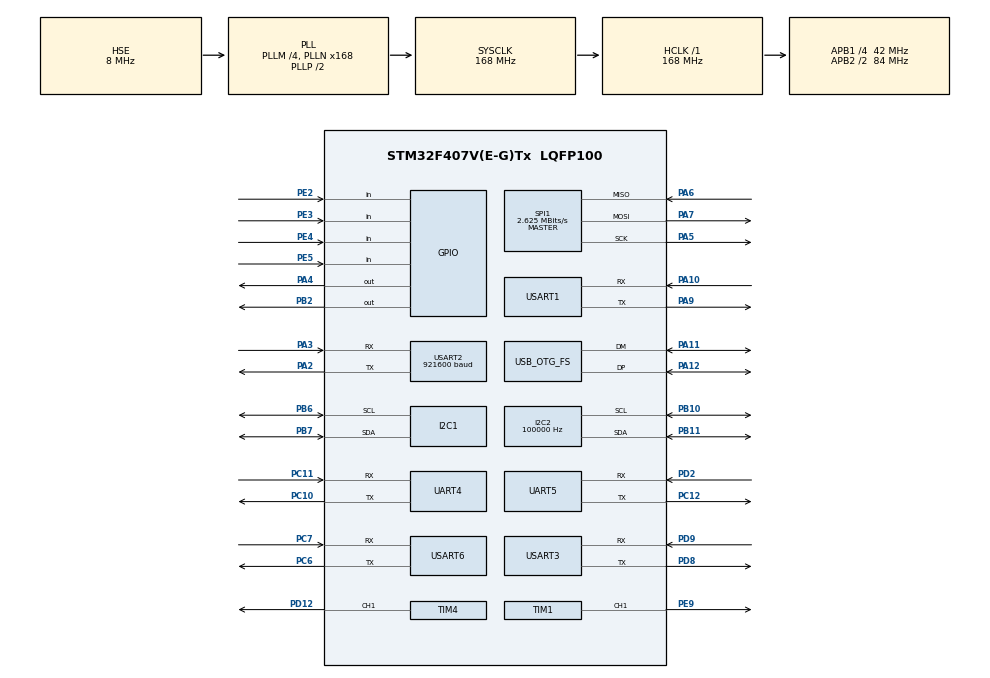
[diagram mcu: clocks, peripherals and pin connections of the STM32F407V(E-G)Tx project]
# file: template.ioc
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Dma.Request0=UART5_RX
Dma.Request1=UART5_TX
Dma.Request2=USART3_TX
Dma.Request3=USART1_RX
Dma.Request4=USART1_TX
Dma.Request5=USART2_RX
Dma.UART5_RX.0.Direction=DMA_PERIPH_TO_MEMORY
Dma.UART5_RX.0.FIFOMode=DMA_FIFOMODE_DISABLE
Dma.UART5_RX.0.Instance=DMA1_Stream0
Dma.UART5_RX.0.MemDataAlignment=DMA_MDATAALIGN_BYTE
Dma.UART5_RX.0.MemInc=DMA_MINC_ENABLE
Dma.UART5_RX.0.Mode=DMA_CIRCULAR
Dma.UART5_RX.0.PeriphDataAlignment=DMA_PDATAALIGN_BYTE
Dma.UART5_RX.0.PeriphInc=DMA_PINC_DISABLE
Dma.UART5_RX.0.Priority=DMA_PRIORITY_HIGH
Dma.UART5_TX.1.Direction=DMA_MEMORY_TO_PERIPH
Dma.UART5_TX.1.FIFOMode=DMA_FIFOMODE_DISABLE
Dma.UART5_TX.1.Instance=DMA1_Stream7
Dma.UART5_TX.1.MemDataAlignment=DMA_MDATAALIGN_BYTE
Dma.UART5_TX.1.MemInc=DMA_MINC_ENABLE
Dma.UART5_TX.1.Mode=DMA_NORMAL
Dma.UART5_TX.1.PeriphDataAlignment=DMA_PDATAALIGN_BYTE
Dma.UART5_TX.1.PeriphInc=DMA_PINC_DISABLE
Dma.UART5_TX.1.Priority=DMA_PRIORITY_MEDIUM
Dma.USART1_RX.3.Direction=DMA_PERIPH_TO_MEMORY
Dma.USART1_RX.3.FIFOMode=DMA_FIFOMODE_DISABLE
Dma.USART1_RX.3.Instance=DMA2_Stream2
Dma.USART1_RX.3.MemDataAlignment=DMA_MDATAALIGN_BYTE
Dma.USART1_RX.3.MemInc=DMA_MINC_ENABLE
Dma.USART1_RX.3.Mode=DMA_CIRCULAR
Dma.USART1_RX.3.PeriphDataAlignment=DMA_PDATAALIGN_BYTE
Dma.USART1_RX.3.PeriphInc=DMA_PINC_DISABLE
Dma.USART1_RX.3.Priority=DMA_PRIORITY_HIGH
Dma.USART1_TX.4.Direction=DMA_MEMORY_TO_PERIPH
Dma.USART1_TX.4.FIFOMode=DMA_FIFOMODE_DISABLE
Dma.USART1_TX.4.Instance=DMA2_Stream7
Dma.USART1_TX.4.MemDataAlignment=DMA_MDATAALIGN_BYTE
Dma.USART1_TX.4.MemInc=DMA_MINC_ENABLE
Dma.USART1_TX.4.Mode=DMA_NORMAL
Dma.USART1_TX.4.PeriphDataAlignment=DMA_PDATAALIGN_BYTE
Dma.USART1_TX.4.PeriphInc=DMA_PINC_DISABLE
Dma.USART1_TX.4.Priority=DMA_PRIORITY_LOW
Dma.USART2_RX.5.Direction=DMA_PERIPH_TO_MEMORY
Dma.USART2_RX.5.FIFOMode=DMA_FIFOMODE_DISABLE
Dma.USART2_RX.5.Instance=DMA1_Stream5
Dma.USART2_RX.5.MemDataAlignment=DMA_MDATAALIGN_BYTE
Dma.USART2_RX.5.MemInc=DMA_MINC_ENABLE
Dma.USART2_RX.5.Mode=DMA_CIRCULAR
Dma.USART2_RX.5.PeriphDataAlignment=DMA_PDATAALIGN_BYTE
Dma.USART2_RX.5.PeriphInc=DMA_PINC_DISABLE
Dma.USART2_RX.5.Priority=DMA_PRIORITY_HIGH
Dma.USART3_TX.2.Direction=DMA_MEMORY_TO_PERIPH
Dma.USART3_TX.2.FIFOMode=DMA_FIFOMODE_DISABLE
Dma.USART3_TX.2.Instance=DMA1_Stream3
Dma.USART3_TX.2.MemDataAlignment=DMA_MDATAALIGN_BYTE
Dma.USART3_TX.2.MemInc=DMA_MINC_ENABLE
Dma.USART3_TX.2.Mode=DMA_NORMAL
Dma.USART3_TX.2.PeriphDataAlignment=DMA_PDATAALIGN_BYTE
Dma.USART3_TX.2.PeriphInc=DMA_PINC_DISABLE
Dma.USART3_TX.2.Priority=DMA_PRIORITY_LOW
I2C2.AddressingMode=I2C_ADDRESSINGMODE_7BIT
I2C2.ClockSpeed=100000
I2C2.DualAddressMode=I2C_DUALADDRESS_DISABLE
I2C2.GeneralCallMode=I2C_GENERALCALL_DISABLE
I2C2.NoStretchMode=I2C_NOSTRETCH_DISABLE
I2C2.OwnAddress1=0
Mcu.Family=STM32F4
Mcu.Name=STM32F407V(E-G)Tx
Mcu.Package=LQFP100
NVIC.DMA1_Stream0_IRQn=true\:1\:0\:true\:false\:true\:false\:true\:true
NVIC.DMA1_Stream3_IRQn=true\:5\:0\:true\:false\:true\:false\:true\:true
NVIC.DMA1_Stream5_IRQn=true\:3\:0\:true\:false\:true\:false\:true\:true
NVIC.DMA1_Stream7_IRQn=true\:1\:0\:true\:false\:true\:false\:true\:true
NVIC.DMA2_Stream2_IRQn=true\:2\:0\:true\:false\:true\:false\:true\:true
NVIC.DMA2_Stream7_IRQn=true\:2\:0\:true\:false\:true\:false\:true\:true
NVIC.OTG_FS_IRQn=true\:4\:0\:true\:false\:true\:false\:true\:true
NVIC.PriorityGroup=NVIC_PRIORITYGROUP_4
NVIC.UART4_IRQn=true\:3\:0\:true\:false\:true\:true\:true\:true
NVIC.UART5_IRQn=true\:1\:0\:true\:false\:true\:true\:true\:true
NVIC.USART1_IRQn=true\:2\:0\:false\:false\:true\:true\:true\:true
NVIC.USART2_IRQn=true\:3\:0\:true\:false\:true\:true\:true\:true
NVIC.USART3_IRQn=true\:5\:0\:true\:false\:true\:true\:true\:true
PA10.Mode=Asynchronous
PA10.Signal=USART1_RX
PA11.Mode=Device_Only
PA11.Signal=USB_OTG_FS_DM
PA12.Mode=Device_Only
PA12.Signal=USB_OTG_FS_DP
PA13.Mode=Serial_Wire
PA13.Signal=SYS_JTMS-SWDIO
PA14.Mode=Serial_Wire
PA14.Signal=SYS_JTCK-SWCLK
PA2.Mode=Asynchronous
PA2.Signal=USART2_TX
PA3.Mode=Asynchronous
PA3.Signal=USART2_RX
PA4.PinState=GPIO_PIN_SET
PA4.Signal=GPIO_Output
PA5.Mode=Full_Duplex_Master
PA5.Signal=SPI1_SCK
PA6.Mode=Full_Duplex_Master
PA6.Signal=SPI1_MISO
PA7.Mode=Full_Duplex_Master
PA7.Signal=SPI1_MOSI
PA9.Mode=Asynchronous
PA9.Signal=USART1_TX
PB10.GPIO_Pu=GPIO_PULLUP
PB10.Mode=I2C
PB10.Signal=I2C2_SCL
PB11.GPIO_Pu=GPIO_PULLUP
PB11.Mode=I2C
PB11.Signal=I2C2_SDA
PB2.GPIO_PuPd=GPIO_PULLDOWN
PB2.PinState=GPIO_PIN_SET
PB2.Signal=GPIO_Output
PB6.Mode=I2C
PB6.Signal=I2C1_SCL
PB7.Mode=I2C
PB7.Signal=I2C1_SDA
PB8.Signal=CAN1_RX
PB9.Signal=CAN1_TX
PC10.Mode=Asynchronous
PC10.Signal=UART4_TX
PC11.Mode=Asynchronous
PC11.Signal=UART4_RX
PC12.Mode=Asynchronous
PC12.Signal=UART5_TX
PC6.Mode=Asynchronous
PC6.Signal=USART6_TX
PC7.Mode=Asynchronous
PC7.Signal=USART6_RX
PD12.Signal=S_TIM4_CH1
PD2.Mode=Asynchronous
PD2.Signal=UART5_RX
PD8.Mode=Asynchronous
PD8.Signal=USART3_TX
PD9.Mode=Asynchronous
PD9.Signal=USART3_RX
PE2.Signal=GPIO_Input
PE3.Signal=GPIO_Input
PE4.Signal=GPIO_Input
PE5.Signal=GPIO_Input
PE9.Signal=S_TIM1_CH1
PH0-OSC_IN.Mode=HSE-External-Oscillator
PH0-OSC_IN.Signal=RCC_OSC_IN
PH1-OSC_OUT.Mode=HSE-External-Oscillator
PH1-OSC_OUT.Signal=RCC_OSC_OUT
ProjectManager.HeapSize=0x200
ProjectManager.StackSize=0x1000
ProjectManager.TargetToolchain=MDK-ARM V5.32
RCC.48MHZClocksFreq_Value=48000000
RCC.AHBFreq_Value=168000000
RCC.APB1CLKDivider=RCC_HCLK_DIV4
RCC.APB1Freq_Value=42000000
RCC.APB1TimFreq_Value=84000000
RCC.APB2CLKDivider=RCC_HCLK_DIV2
RCC.APB2Freq_Value=84000000
RCC.APB2TimFreq_Value=168000000
RCC.CortexFreq_Value=168000000
RCC.HCLKFreq_Value=168000000
RCC.HSE_VALUE=8000000
RCC.HSI_VALUE=16000000
RCC.LSE_VALUE=32768
RCC.PLLM=4
RCC.PLLN=168
RCC.PLLQ=7
RCC.SYSCLKFreq_VALUE=168000000
RCC.SYSCLKSource=RCC_SYSCLKSOURCE_PLLCLK
RCC.VCOOutputFreq_Value=336000000
SH.S_TIM1_CH1.0=TIM1_CH1,PWM Generation1 CH1
SH.S_TIM4_CH1.0=TIM4_CH1,PWM Generation1 CH1
SPI1.BaudRatePrescaler=SPI_BAUDRATEPRESCALER_32
SPI1.CLKPhase=SPI_PHASE_2EDGE
SPI1.CLKPolarity=SPI_POLARITY_HIGH
SPI1.CalculateBaudRate=2.625 MBits/s
SPI1.Direction=SPI_DIRECTION_2LINES
SPI1.Mode=SPI_MODE_MASTER
SPI1.VirtualType=VM_MASTER
TIM1.Channel-PWM\ Generation1\ CH1=TIM_CHANNEL_1
TIM1.Period=19999
TIM1.Prescaler=167
TIM4.Channel-PWM\ Generation1\ CH1=TIM_CHANNEL_1
TIM4.Period=19999
TIM4.Prescaler=83
UART4.VirtualMode=Asynchronous
UART5.VirtualMode=Asynchronous
USART1.VirtualMode=VM_ASYNC
USART2.BaudRate=921600
USART2.VirtualMode=VM_ASYNC
USART3.VirtualMode=VM_ASYNC
USART6.VirtualMode=VM_ASYNC
USB_DEVICE.CLASS_NAME_FS=CDC
USB_DEVICE.VirtualMode-CDC_FS=Cdc
USB_DEVICE.VirtualModeFS=Cdc_FS
USB_OTG_FS.VirtualMode=Device_Only
USB_OTG_FS.vbus_sensing_enable=DISABLE
VP_USB_DEVICE_VS_USB_DEVICE_CDC_FS.Mode=CDC_FS
board=custom

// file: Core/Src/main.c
/* USER CODE BEGIN Header */
/**
  ******************************************************************************
  * @file           : main.c
  * @brief          : Main program body
  *
  * @par 二维码模块、Orange Pi和OLED接线
  * - OLED SCL  -> PB6（I2C1_SCL，100 kHz）
  * - OLED SDA  -> PB7（I2C1_SDA，设备7位地址默认0x3C）
  * - STM32 PC10（UART4_TX）连接二维码模块RX
  * - STM32 PC11（UART4_RX）连接二维码模块TX
  * - STM32 PA11/PA12：原生USB CDC连接香橙派
  * - HWT101 SCL/SDA：PB10/PB11，I2C2；串口屏：PD8/PD9
  * - OLED、串口模块和STM32必须共地，串口信号电平必须为3.3 V
  ******************************************************************************
  * @attention
  *
  * Copyright (c) 2026 STMicroelectronics.
  * All rights reserved.
  *
  * This software is licensed under terms that can be found in the LICENSE file
  * in the root directory of this software component.
  * If no LICENSE file comes with this software, it is provided AS-IS.
  *
  ******************************************************************************
  */
/* USER CODE END Header */
#include "main.h"
#include "dma.h"
#include "i2c.h"
#include "spi.h"
#include "tim.h"
#include "usart.h"
#include "usb_device.h"
#include "gpio.h"

/* USER CODE BEGIN Includes */

#include "Camera.h"
#include "QR.h"
#include "GrabTask.h"
#include "turntable.h"
#include "GrabRoute.h"
#include "Steer.h"
#include "lidar_servo.h"
#include "arm_console.h"
#include "contest_screen.h"
#include "contest_mission.h"
#include "hwt101_i2c.h"
#include "hwt101_calibration.h"
#include "key.h"
#include "mechanical_arm.h"
#include "mecanum_chassis.h"
#include "oled_ui.h"
#include "tjc_screen.h"
#include "usbd_cdc_if.h"
#include "w25q128.h"
#include "motor_bus.h"
#include "console_tx.h"
#include "console_rx.h"
#include "chassis_motion.h"
#include "chassis_localization.h"
#include "chassis_route.h"
#include "chassis_telemetry.h"
#include "radar_scan.h"
#include "radar_console.h"

#include <stdio.h>
#include <string.h>

/* USER CODE END Includes */

/* USER CODE BEGIN PD */
#define HWT101_UPLOAD_INTERVAL_MS 200U
#define CONSOLE_UPLOAD_TIMEOUT_MS 100U

/* USER CODE END PD */

/* USER CODE BEGIN PV */

static uint8_t QR_RxByte;

static char QR_TaskCode[QR_TASK_CODE_BUFFER_SIZE];
static uint8_t Camera_ColorTaskReady;
static uint8_t Camera_ColorDigitIndex;
static HWT101_Angle_t HWT101_CurrentAngle;
static uint8_t HWT101_AngleValid;
static uint32_t HWT101_UploadLastTick;
static uint32_t HWT101_ProgressLastTick;
static uint32_t HWT101_UploadRunId, HWT101_UploadFinalRunId;
static HWT101_CalState_t HWT101_UploadFinalState;

/* USER CODE END PV */

void SystemClock_Config(void);

/* USER CODE BEGIN 0 */

/* Board bring-up diagnostic only; not part of normal startup. */
#ifndef W25Q128_BOOT_DIAGNOSTIC
#define W25Q128_BOOT_DIAGNOSTIC 0
#endif
#if W25Q128_BOOT_DIAGNOSTIC
/** 启动时先读三次 JEDEC ID，再读三次设备 ID，失败也继续启动。 */
static void W25Q128_StartupCheck(void)
{
  uint8_t Id[3] = {0};
  uint8_t Index;
  uint8_t Command;
  uint8_t Try;
  uint8_t Invalid;
  char Text[96];
  const char *StatusText;
  const char *Prefix;
  int32_t Length;
  HAL_StatusTypeDef Status;

  for (Index = 0U; Index < 6U; Index++)
  {
    /* 首次读取保持原来的启动条件，仅在相邻交易之间等待。 */
    if (Index > 0U)
    {
      HAL_Delay(10U);
    }
    Try = (uint8_t)(Index % 3U + 1U);
    Prefix = (Index == 0U) ? "\r\n" : "";
    if (Index < 3U)
    {
      Command = 0x9FU;
      Status = W25Q128_ReadJedecId(&hspi1, Id);
    }
    else
    {
      Command = 0x90U;
      Status = W25Q128_ReadDeviceId(&hspi1, Id);
    }

    if (Status != HAL_OK)
    {
      switch (Status)
      {
        case HAL_ERROR: StatusText = "ERROR"; break;
        case HAL_BUSY: StatusText = "BUSY"; break;
        case HAL_TIMEOUT: StatusText = "TIMEOUT"; break;
        default: StatusText = "UNKNOWN"; break;
      }
      /* 失败时不打印保留在 Id 中的上次结果。 */
      Length = snprintf(Text, sizeof(Text), "%s[FLASH] cmd=%02X try=%u HAL=%s\r\n",
                        Prefix, (unsigned)Command, (unsigned)Try, StatusText);
    }
    else
    {
      Invalid = ((Id[0] == 0U) && (Id[1] == 0U) &&
                 ((Command == 0x90U) || (Id[2] == 0U))) ||
                ((Id[0] == 0xFFU) && (Id[1] == 0xFFU) &&
                 ((Command == 0x90U) || (Id[2] == 0xFFU)));
      if (Command == 0x9FU)
      {
        Length = snprintf(Text, sizeof(Text),
                          "%s[FLASH] cmd=9F try=%u HAL=OK ID=%02X %02X %02X%s\r\n",
                          Prefix, (unsigned)Try, (unsigned)Id[0], (unsigned)Id[1],
                          (unsigned)Id[2], Invalid ? " INVALID" : "");
      }
      else
      {
        Length = snprintf(Text, sizeof(Text),
                          "%s[FLASH] cmd=90 try=%u HAL=OK ID=%02X %02X%s\r\n",
                          Prefix, (unsigned)Try, (unsigned)Id[0], (unsigned)Id[1],
                          Invalid ? " INVALID" : "");
      }
    }

    if ((Length > 0) && (Length < (int32_t)sizeof(Text)))
    {
      (void)ConsoleTx_Write((uint8_t *)Text, (uint16_t)Length);
    }
  }

  (void)ConsoleTx_Write((uint8_t *)"arm> ", 5U);
}
#endif

/* IMU_TIMING_BEGIN: 主循环分段计时；仅保存数值，失败前不发送日志。 */
typedef enum
{
  IMU_TIME_CAMERA, IMU_TIME_MOTOR, IMU_TIME_MATERIAL,
  IMU_TIME_CHASSIS, IMU_TIME_READ, IMU_TIME_CAL, IMU_TIME_LOG,
  IMU_TIME_CONSOLE, IMU_TIME_SCREEN, IMU_TIME_QR_KEYS, IMU_TIME_OLED,
  IMU_TIME_COUNT
} ImuTimingStage_t;

static struct
{
  uint32_t current[IMU_TIME_COUNT], previous[IMU_TIME_COUNT], maximum[IMU_TIME_COUNT];
  uint32_t start_tick, mark_tick, previous_loop_ms, max_loop_ms;
  uint32_t failure_partial_ms;
  uint8_t active, frozen;
} ImuTiming;
static uint32_t ImuTiming_LastRunId;

static void ImuTiming_Begin(void)
{
  HWT101_CalStatus_t Cal;
  if (!HWT101_Cal_GetStatus(&Cal)) return;
  if (Cal.run_id != ImuTiming_LastRunId)
    memset(&ImuTiming, 0, sizeof(ImuTiming));
  ImuTiming_LastRunId = Cal.run_id;
  ImuTiming.active = !ImuTiming.frozen && (Cal.busy || Cal.control_ready);
  if (!ImuTiming.active) return;
  memset(ImuTiming.current, 0, sizeof(ImuTiming.current));
  ImuTiming.start_tick = ImuTiming.mark_tick = HAL_GetTick();
}

static void ImuTiming_Mark(ImuTimingStage_t Stage)
{
  uint32_t Now, Elapsed;
  if (!ImuTiming.active) return;
  Now = HAL_GetTick();
  Elapsed = (uint32_t)(Now - ImuTiming.mark_tick);
  ImuTiming.current[Stage] = Elapsed;
  if (Elapsed > ImuTiming.maximum[Stage]) ImuTiming.maximum[Stage] = Elapsed;
  ImuTiming.mark_tick = Now;
}

static void ImuTiming_End(void)
{
  if (!ImuTiming.active) return;
  ImuTiming.previous_loop_ms = (uint32_t)(HAL_GetTick() - ImuTiming.start_tick);
  if (ImuTiming.previous_loop_ms > ImuTiming.max_loop_ms)
    ImuTiming.max_loop_ms = ImuTiming.previous_loop_ms;
  memcpy(ImuTiming.previous, ImuTiming.current, sizeof(ImuTiming.previous));
}

static void ImuTiming_Freeze(void)
{
  if (!ImuTiming.frozen)
    ImuTiming.failure_partial_ms = ImuTiming.active ? (uint32_t)(HAL_GetTick() - ImuTiming.start_tick) : 0U;
  ImuTiming.active = 0U;
  ImuTiming.frozen = 1U;
}

static void ImuTiming_Report(const HWT101_CalStatus_t *Cal)
{
  static const char *const Names[IMU_TIME_COUNT] = {
    "camera", "motor_events", "material", "chassis", "imu_read",
    "imu_cal", "imu_log", "console", "screen", "qr_keys", "oled"
  };
  char Text[192];
  int Length;
  unsigned Stage;
  /* 先冻结，故障日志与异步恢复不覆盖首次失败现场。 */
  ImuTiming_Freeze();
  Length = snprintf(Text, sizeof(Text),
      "\r\n[IMU DIAG] gap_ms=%lu max_gap_ms=%lu limit_ms=%lu "
      "loop_prev_ms=%lu loop_max_ms=%lu loop_partial_ms=%lu\r\n",
      (unsigned long)Cal->gap_ms, (unsigned long)Cal->max_gap_ms,
      (unsigned long)HWT101_DATA_FRESH_MS, (unsigned long)ImuTiming.previous_loop_ms,
      (unsigned long)ImuTiming.max_loop_ms, (unsigned long)ImuTiming.failure_partial_ms);
  if ((Length > 0) && (Length < (int)sizeof(Text)))
    (void)ConsoleTx_Write((uint8_t *)Text, (uint16_t)Length);
  for (Stage = 0U; Stage < IMU_TIME_COUNT; Stage++)
  {
    Length = snprintf(Text, sizeof(Text),
        "[IMU TIME] stage=%s prev_ms=%lu current_ms=%lu max_ms=%lu\r\n", Names[Stage],
        (unsigned long)ImuTiming.previous[Stage], (unsigned long)ImuTiming.current[Stage],
        (unsigned long)ImuTiming.maximum[Stage]);
    if ((Length > 0) && (Length < (int)sizeof(Text)))
      (void)ConsoleTx_Write((uint8_t *)Text, (uint16_t)Length);
  }
}
/* IMU_TIMING_END */

/**
  * 函    数：通过USART1上传HWT101最新角度
  * 参    数：无
  * 返 回 值：无
  * 说    明：默认只报告标定进度和结果；stream开启时每200ms更新最新角度槽，发送层每路至少间隔500ms。
  */
static void HWT101_Upload_Process(void)
{
  char UploadText[320];
  int UploadLength;
  uint32_t CurrentTick = HAL_GetTick();
  uint8_t Fresh;
  HWT101_Status_t Comm = {0};
  HWT101_CalStatus_t Cal;
  bool Terminal;

  if (!HWT101_Cal_GetStatus(&Cal)) return;
  (void)HWT101_Status_Get(&Comm);
  if (Cal.run_id != HWT101_UploadRunId)
  {
    HWT101_UploadRunId = Cal.run_id;
    HWT101_ProgressLastTick = CurrentTick;
  }
  if (Cal.state == HWT101_CAL_RESTORING && strcmp(Cal.reason, "none") && strcmp(Cal.reason, "cancelled"))
    ImuTiming_Freeze();
  Terminal = !Cal.busy && ((Cal.state == HWT101_CAL_DONE) ||
             (Cal.state == HWT101_CAL_FAILED) || (Cal.state == HWT101_CAL_CANCELLED));
  if (Terminal &&
      ((Cal.run_id != HWT101_UploadFinalRunId) || (Cal.state != HWT101_UploadFinalState)))
  {
    HWT101_UploadFinalRunId = Cal.run_id;
    HWT101_UploadFinalState = Cal.state;
    if (!strcmp(Cal.result, "ZERO_SAMPLE"))
    {
      UploadLength = snprintf(UploadText, sizeof(UploadText),
          "\r\nOK imu zero sample before_deg=%.3f after_deg=%.3f verified=0 control_ready=0\r\narm> ",
          (double)Cal.zero_before_deg, (double)Cal.zero_after_deg);
      if ((UploadLength > 0) && (UploadLength < (int)sizeof(UploadText)))
        (void)ConsoleTx_Write((uint8_t *)UploadText, (uint16_t)UploadLength);
      return;
    }
    if (Cal.state == HWT101_CAL_FAILED) ImuTiming_Report(&Cal);
    if (Cal.first_reason && strcmp(Cal.first_reason, "none"))
    {
      UploadLength = snprintf(UploadText, sizeof(UploadText),
          "[IMU FAULT] first_reason=%s first_HAL=%u error=0x%08lX state=0x%02lX "
          "op=%u reg=0x%02X tick=%lu reinit_count=%lu\r\n",
          Cal.first_reason, (unsigned)Cal.first_hal, (unsigned long)Cal.first_hal_error,
          (unsigned long)Cal.first_hal_state, (unsigned)Cal.first_operation,
          (unsigned)Cal.first_register, (unsigned long)Cal.first_fault_ms,
          (unsigned long)Comm.reinit_count);
      if ((UploadLength > 0) && (UploadLength < (int)sizeof(UploadText)))
        (void)ConsoleTx_Write((uint8_t *)UploadText, (uint16_t)UploadLength);
    }
    UploadLength = snprintf(UploadText, sizeof(UploadText),
        "\r\n[IMU CAL] result=%s state=%s reason=%s HAL=%u run_id=%lu verified=%u control_ready=%u\r\n",
        Cal.result, Cal.state_name, Cal.reason, (unsigned)Cal.hal,
        (unsigned long)Cal.run_id, (unsigned)Cal.verified, (unsigned)Cal.control_ready);
    if ((UploadLength > 0) && (UploadLength < (int)sizeof(UploadText)))
      (void)ConsoleTx_Write((uint8_t *)UploadText, (uint16_t)UploadLength);
    UploadLength = snprintf(UploadText, sizeof(UploadText),
        "[IMU SAVE] save_state=%s save_requested=%u save_readback_ok=%u persistent=UNTESTED "
        "normal_mode=%u bias_before=0x%04X bias_after=0x%04X bias_after_valid=%u\r\n",
        Cal.save_state, (unsigned)Cal.save_requested, (unsigned)Cal.save_readback_ok,
        (unsigned)Cal.normal_mode_confirmed, (unsigned)Cal.bias_before,
        (unsigned)Cal.bias_after, (unsigned)Cal.bias_after_valid);
    if ((UploadLength > 0) && (UploadLength < (int)sizeof(UploadText)))
      (void)ConsoleTx_Write((uint8_t *)UploadText, (uint16_t)UploadLength);
    UploadLength = snprintf(UploadText, sizeof(UploadText),
        "[IMU VERIFY] samples=%lu drift_dps=%.5f rms_deg=%.4f gap_ms=%lu max_gap_ms=%lu "
        "i2c_errors=%lu elapsed_ms=%lu relative_deg=%.3f verify_elapsed_ms=%lu\r\narm> ",
        (unsigned long)Cal.samples, (double)Cal.drift_dps, (double)Cal.rms_deg,
        (unsigned long)Cal.gap_ms, (unsigned long)Cal.max_gap_ms,
        (unsigned long)Cal.i2c_errors, (unsigned long)Cal.elapsed_ms,
        (double)Cal.relative_deg, (unsigned long)Cal.verify_elapsed_ms);
    if ((UploadLength > 0) && (UploadLength < (int)sizeof(UploadText)))
      (void)ConsoleTx_Write((uint8_t *)UploadText, (uint16_t)UploadLength);
  }
  if (Cal.busy && ((uint32_t)(CurrentTick - HWT101_ProgressLastTick) >= 5000U))
  {
    HWT101_ProgressLastTick = CurrentTick;
    UploadLength = snprintf(UploadText, sizeof(UploadText),
        "\r\n[IMU CAL] state=%s elapsed_s=%lu total_s=%lu verify_elapsed_s=%lu keep_still=1\r\n",
        Cal.state_name, (unsigned long)(Cal.elapsed_ms / 1000U), (unsigned long)(Cal.total_ms / 1000U),
        (unsigned long)(Cal.verify_elapsed_ms / 1000U));
    if ((UploadLength > 0) && (UploadLength < (int)sizeof(UploadText)))
      (void)ConsoleTx_Write((uint8_t *)UploadText, (uint16_t)UploadLength);
  }
  /* Busy calibration suppresses telemetry; sampling continues independently. */
  if (Cal.busy || ArmConsole_ImuStreamEnabled() == 0U) return;
  if (HWT101_Angle_Get(&HWT101_CurrentAngle)) HWT101_AngleValid = 1U;
  if ((uint32_t)(CurrentTick - HWT101_UploadLastTick) < HWT101_UPLOAD_INTERVAL_MS) return;
  Fresh = (HWT101_AngleValid != 0U) &&
          HWT101_Angle_Is_Fresh(&HWT101_CurrentAngle, HWT101_DATA_FRESH_MS);
  if (HWT101_AngleValid == 0U)
    UploadLength = snprintf(UploadText, sizeof(UploadText),
        "HWT101 yaw_deg=NA t_ms=%lu fresh=0 cal_state=%s i2c_errors=%lu\r\n",
        (unsigned long)CurrentTick, Cal.state_name, (unsigned long)Comm.i2c_error_count);
  else
    UploadLength = snprintf(UploadText, sizeof(UploadText),
        "HWT101 yaw_deg=%.2f count=%lu t_ms=%lu age_ms=%lu fresh=%u cal_state=%s i2c_errors=%lu\r\n",
        (double)HWT101_CurrentAngle.yaw, (unsigned long)HWT101_CurrentAngle.update_count,
        (unsigned long)CurrentTick, (unsigned long)(CurrentTick - HWT101_CurrentAngle.last_update_ms),
        (unsigned)Fresh, Cal.state_name, (unsigned long)Comm.i2c_error_count);
  if ((UploadLength > 0) && (UploadLength < (int)sizeof(UploadText)))
  {
    (void)ConsoleTx_Debug(CONSOLE_DEBUG_IMU, UploadText, (uint16_t)UploadLength);
    HWT101_UploadLastTick = CurrentTick;
  }
}

/** Optional blocking I2C work yields to every active motor/control workflow. */
static bool OptionalDisplayReady(void)
{
  MotorBus_Diagnostic_t bus;
  MotorBus_Recovery_t recovery;
  MotorBus_DiagnosticGet(&bus);
  MotorBus_RecoveryGet(&recovery);
  return !HWT101_Cal_IsBusy() && !ChassisMotion_IsBusy() && !ChassisRoute_IsBusy() &&
         !GrabTask_IsBusy() && !GrabRoute_IsBusy() && !Turntable_IsBusy() && !MechanicalArm_IsBusy() &&
         !Mecanum_IsBusy() &&
         !ChassisMotion_StopPending() && !ArmConsole_OperationBusy() &&
         !bus.active && !recovery.active && !RadarConsole_ScanBusy();
}

/* USER CODE END 0 */

int main(void)
{

  /* MCU Configuration--------------------------------------------------------*/

  /* Reset of all peripherals, Initializes the Flash interface and the Systick. */
  HAL_Init();

  /* Configure the system clock */
  SystemClock_Config();

  /* USER CODE BEGIN SysInit */
  (void)Camera_Init();

  /* USER CODE END SysInit */

  /* Initialize all configured peripherals */
  MX_GPIO_Init();
  MX_DMA_Init();
  MX_TIM1_Init();
  MX_UART4_Init();
  MX_USART1_UART_Init();
  MX_USART2_UART_Init();
  MX_USART3_UART_Init();
  MX_USART6_UART_Init();
  MX_UART5_Init();
  MX_I2C1_Init();
  MX_I2C2_Init();
  MX_USB_DEVICE_Init();
  MX_SPI1_Init();
  MX_TIM4_Init();
  /* USER CODE BEGIN 2 */

  /* CS 仍为高电平时提前使能 SPI1，验证首次读取的使能时序。 */
  __HAL_SPI_ENABLE(&hspi1);

  /*
   * 优先启动USART1控制台。即使OLED或其他可选外设没有连接，
   * 上位机仍然能够看到启动信息并使用调试命令。
   */
  if (ArmConsole_Init(&huart1) != HAL_OK)
  {
    Error_Handler();
  }

  /* USART1循环DMA接收；HT/TC/IDLE均由HAL分发。 */
  if (ConsoleRx_Init(&huart1) != HAL_OK)
  {
    Error_Handler();
  }

#if W25Q128_BOOT_DIAGNOSTIC
  W25Q128_StartupCheck();
#endif

  /* OLED为可选显示设备，未连接时不阻止其他模块和控制台运行。 */
  OledUi_Init(&hi2c1);

  QR_Init();
  Key_Init();
  if (HAL_UART_Receive_IT(&huart4, &QR_RxByte, 1U) != HAL_OK)
  {
    Error_Handler();
  }

  /* PE9使用TIM1_CH1输出50Hz PWM；CCR为0时夹爪上电不会立即动作。 */
  if (Steer_Init(&htim1) != HAL_OK)
  {
    Error_Handler();
  }
  /* PD12雷达舵机上电保持零脉宽，仅由显式控制台命令动作。 */
  if (LidarServo_Init() != HAL_OK)
  {
    Error_Handler();
  }
  GrabTask_Init();
  GrabRoute_Init();
  Turntable_Init();

  /* HWT101使用I2C2；设备仍在启动时，由轮询稍后重新探测。 */
  (void)HWT101_Init(&hi2c2);
  HWT101_Cal_Init();
  HWT101_UploadRunId = HWT101_UploadFinalRunId = 0U;
  HWT101_UploadFinalState = HWT101_CAL_IDLE;
  HWT101_CurrentAngle.yaw = 0.0f;
  HWT101_CurrentAngle.update_count = 0U;
  HWT101_AngleValid = 0U;
  HWT101_UploadLastTick = HAL_GetTick() - HWT101_UPLOAD_INTERVAL_MS;

  /* 机械臂电机总线使用UART5，模块初始化内部会启动ReceiveToIdle DMA接收。 */
  if (MotorBus_Init(&huart5) != HAL_OK) Error_Handler();
  ChassisRoute_Init();
  ChassisMotion_Init();
  ChassisTelemetry_Init();
  (void)RadarScan_Init(&huart2); /* RX only; scanning requires an explicit command. */
  RadarConsole_Init();
  if (MechanicalArm_Init(&huart5) != HAL_OK)
  {
    Error_Handler();
  }

  /* 比赛串口屏使用USART3 TX DMA，PD8连接屏幕RX，PD9连接屏幕TX。 */
  if (TJC_Init(&huart3) != HAL_OK)
  {
    Error_Handler();
  }
  ContestScreen_Init();
  /* Launch Z/X and ID8 together; GrabTask waits for them before Base HOME. */
  GrabTask_BootHomeStart();

  /* USER CODE END 2 */

  /* Infinite loop */
  /* USER CODE BEGIN WHILE */
  while (1)
  {
    MechanicalArm_EventTypeDef MotorEvent;
    KeyEvent_t Key;
    /* USER CODE END WHILE */

    /* USER CODE BEGIN 3 */
    ImuTiming_Begin();
    ConsoleRx_Process();
    ArmConsole_StopProcess(); /* Ctrl+C cancels producers before they can submit motion. */
    ConsoleTx_Process();
    if (ArmConsole_ResetPending())
    {
      ArmConsole_Process(); /* Consume a queued stop before committing reset. */
      if (ArmConsole_ResetProcess()) continue;
    }
    MotorBus_Process();
    RadarScan_Process(); /* Bounded parsing, no delay or motor submission. */
    Camera_Process();
    ImuTiming_Mark(IMU_TIME_CAMERA);
    MechanicalArm_Process();
    Turntable_Process(); /* Dedicated ID 8 owner; no arm-axis event consumption. */
    if (MechanicalArm_ResultGet(&MotorEvent) != 0U)
    {
      if (GrabTask_MotorEventHandle(&MotorEvent) == 0U)
      {
        ArmConsole_MotorEventHandle(&MotorEvent);
      }
    }
    ImuTiming_Mark(IMU_TIME_MOTOR);
    ImuTiming_Mark(IMU_TIME_MATERIAL);
    HWT101_Process(); /* 独立采集；关闭日志不会停止传感器轮询。 */
    ImuTiming_Mark(IMU_TIME_READ);
    HWT101_Cal_BootVerifyProcess(!Mecanum_IsBusy() && !MechanicalArm_IsBusy() &&
        !ChassisRoute_IsBusy() && !ChassisMotion_IsBusy() &&
        !GrabTask_IsBusy() && !GrabRoute_IsBusy() && !Turntable_IsBusy());
    HWT101_Cal_Process();
    ImuTiming_Mark(IMU_TIME_CAL);
    ChassisMotion_HeadingProcess();
    ChassisLocalization_Process();
    ChassisMotion_Process();
    ChassisRoute_Process();
    GrabRoute_Process();
    GrabTask_Process();
    {
      GrabTask_Status_t boot_arm;
      GrabTask_StatusGet(&boot_arm);
      Turntable_BootHomeProcess(boot_arm.state == GRAB_HOMING &&
          !boot_arm.stop_requested && boot_arm.elapsed_ms >= 1000U);
    }
    Mecanum_Process(); /* Task planners submit targets; this layer advances the bus. */
    ImuTiming_Mark(IMU_TIME_CHASSIS);
    ChassisTelemetry_Process();
    RadarConsole_Process();
    HWT101_Upload_Process();
    ImuTiming_Mark(IMU_TIME_LOG);
    ArmConsole_Process();
    if (ArmConsole_ResetPending()) continue;
    ImuTiming_Mark(IMU_TIME_CONSOLE);
    TJC_Process();
    if (!ChassisMotion_IsBusy() && !ChassisRoute_IsBusy()) ContestScreen_Process();
    ImuTiming_Mark(IMU_TIME_SCREEN);

    if (QR_TaskCodeGet(QR_TaskCode) == 1U)
    {
      if(!ContestMission_OwnsDisplay())
        (void)ContestScreen_TaskCodeSet(QR_TaskCode);
      Camera_ColorTaskReady = 1U;
      Camera_ColorDigitIndex = 0U;
      OledUi_TaskCodeSet(QR_TaskCode, Camera_ColorDigitIndex);
    }

    Key_Scan();
    Key = Key_Get_Press_Event(); /* 每圈只消费一次按键事件。 */
    if (!ArmConsole_OperationBusy() && !GrabTask_IsBusy() && !GrabRoute_IsBusy() && !Turntable_IsBusy() &&
        (Key == KEY_EVENT_PE4 || Key == KEY_EVENT_PE5 ||
         (!ChassisMotion_IsBusy() && !ChassisRoute_IsBusy())) &&
        OledUi_KeyHandle(Key) == 0U)
    {
      switch (Key)
      {
        case KEY_EVENT_PE3:
          if (Camera_ColorTaskReady && !MechanicalArm_IsBusy())
          {
            Camera_ColorDigitIndex = (uint8_t)((Camera_ColorDigitIndex + 1U) % 3U);
            OledUi_TaskCodeSet(QR_TaskCode, Camera_ColorDigitIndex);
          }
          break;

        default:
          break;
      }
    }
    ImuTiming_Mark(IMU_TIME_QR_KEYS);
    if (OptionalDisplayReady()) OledUi_Process(); /* Display I/O only in control-idle gaps. */
    ImuTiming_Mark(IMU_TIME_OLED);
    MotorBus_Process();
    ConsoleTx_Process();
    ImuTiming_End();
  }
  /* USER CODE END 3 */
}

void SystemClock_Config(void)
{
  RCC_OscInitTypeDef RCC_OscInitStruct = {0};
  RCC_ClkInitTypeDef RCC_ClkInitStruct = {0};

  /** Configure the main internal regulator output voltage
  */
  __HAL_RCC_PWR_CLK_ENABLE();
  __HAL_PWR_VOLTAGESCALING_CONFIG(PWR_REGULATOR_VOLTAGE_SCALE1);

  /** Initializes the RCC Oscillators according to the specified parameters
  * in the RCC_OscInitTypeDef structure.
  */
  RCC_OscInitStruct.OscillatorType = RCC_OSCILLATORTYPE_HSE;
  RCC_OscInitStruct.HSEState = RCC_HSE_ON;
  RCC_OscInitStruct.PLL.PLLState = RCC_PLL_ON;
  RCC_OscInitStruct.PLL.PLLSource = RCC_PLLSOURCE_HSE;
  RCC_OscInitStruct.PLL.PLLM = 4;
  RCC_OscInitStruct.PLL.PLLN = 168;
  RCC_OscInitStruct.PLL.PLLP = RCC_PLLP_DIV2;
  RCC_OscInitStruct.PLL.PLLQ = 7;
  if (HAL_RCC_OscConfig(&RCC_OscInitStruct) != HAL_OK)
  {
    Error_Handler();
  }

  /** Initializes the CPU, AHB and APB buses clocks
  */
  RCC_ClkInitStruct.ClockType = RCC_CLOCKTYPE_HCLK|RCC_CLOCKTYPE_SYSCLK
                              |RCC_CLOCKTYPE_PCLK1|RCC_CLOCKTYPE_PCLK2;
  RCC_ClkInitStruct.SYSCLKSource = RCC_SYSCLKSOURCE_PLLCLK;
  RCC_ClkInitStruct.AHBCLKDivider = RCC_SYSCLK_DIV1;
  RCC_ClkInitStruct.APB1CLKDivider = RCC_HCLK_DIV4;
  RCC_ClkInitStruct.APB2CLKDivider = RCC_HCLK_DIV2;

  if (HAL_RCC_ClockConfig(&RCC_ClkInitStruct, FLASH_LATENCY_5) != HAL_OK)
  {
    Error_Handler();
  }
}

/* USER CODE BEGIN 4 */

/**
  * @brief    分发HAL串口单字节接收完成事件
  * @param    huart ：触发回调的串口句柄
  * @retval   无
  */
void HAL_UART_RxCpltCallback(UART_HandleTypeDef *huart)
{
  TJC_Rx_Callback(huart);
  if (huart->Instance == UART4)
  {
    QR_ReceiveData(QR_RxByte);
    (void)HAL_UART_Receive_IT(&huart4, &QR_RxByte, 1U);
  }

}

/**
  * @brief    分发HAL串口DMA空闲接收事件
  * @param    huart ：触发回调的串口句柄
  * @param    Size  ：HAL提供的DMA写入位置（USART1读取实时NDTR防止重复事件）
  * @retval   无
  */
void HAL_UARTEx_RxEventCallback(UART_HandleTypeDef *huart, uint16_t Size)
{
  if (huart->Instance == UART5)
  {
    MotorBus_RxEventCallback(huart, Size);
  }
  else if (huart->Instance == USART1)
  {
    ConsoleRx_RxEventCallback(huart);
  }
  else if (huart->Instance == USART2)
  {
    RadarUart_RxEventCallback(huart,Size);
  }
}

/**
  * @brief    分发HAL串口DMA发送完成事件
  * @param    huart ：触发回调的串口句柄
  * @retval   无
  */
void HAL_UART_TxCpltCallback(UART_HandleTypeDef *huart)
{
  if (huart->Instance == UART5)
  {
    MotorBus_TxCpltCallback(huart);
  }
  else if (huart->Instance == USART1)
  {
    ConsoleTx_TxCpltCallback(huart);
  }
  else if (huart->Instance == USART3)
  {
    TJC_Tx_Callback(huart);
  }
  else if (huart->Instance == USART2)
  {
    RadarUart_TxCpltCallback(huart);
  }
}

/**
  * @brief    分发HAL串口通信错误事件
  * @param    huart ：触发回调的串口句柄
  * @retval   无
  */
void HAL_UART_ErrorCallback(UART_HandleTypeDef *huart)
{
  TJC_Error_Callback(huart);
  if (huart->Instance == USART1)
  {
    ConsoleRx_ErrorCallback(huart);
    /* RX overrun/framing errors do not cancel a healthy TX DMA. */
    if (huart->ErrorCode & HAL_UART_ERROR_DMA) ConsoleTx_ErrorCallback(huart);
  }
  else if (huart->Instance == UART4)
  {
    __HAL_UART_CLEAR_PEFLAG(huart);
    __HAL_UART_CLEAR_FEFLAG(huart);
    __HAL_UART_CLEAR_NEFLAG(huart);
    __HAL_UART_CLEAR_OREFLAG(huart);
    QR_ErrorCallback();
    (void)HAL_UART_Receive_IT(&huart4, &QR_RxByte, 1U);
  }
  else if (huart->Instance == USART2)
  {
    RadarUart_ErrorCallback(huart);
  }

  else if (huart->Instance == UART5)
  {
    __HAL_UART_CLEAR_PEFLAG(huart);
    __HAL_UART_CLEAR_FEFLAG(huart);
    __HAL_UART_CLEAR_NEFLAG(huart);
    __HAL_UART_CLEAR_OREFLAG(huart);
    MotorBus_ErrorCallback(huart);
  }
}

/* USER CODE END 4 */

void Error_Handler(void)
{
  __disable_irq();
  while (1)
  {
  }
}
